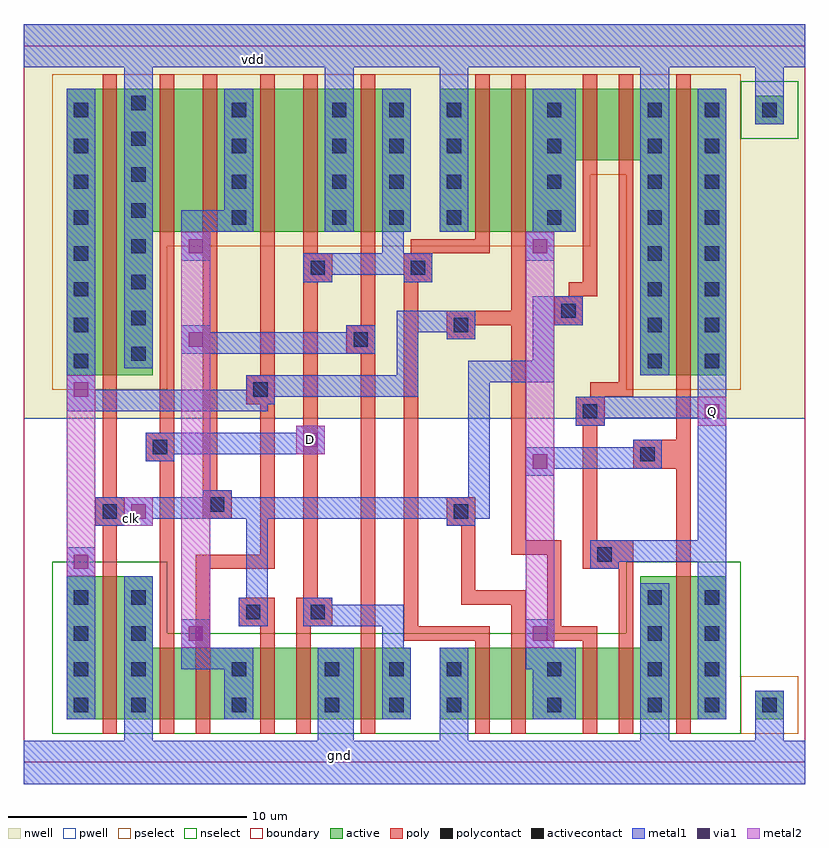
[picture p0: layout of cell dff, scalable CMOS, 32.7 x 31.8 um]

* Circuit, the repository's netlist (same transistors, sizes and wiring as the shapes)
*********************** "dff" ******************************
* Positive edge-triggered FF
.SUBCKT dff D Q clk vdd gnd
M0 vdd clk a_2_6# vdd p w=12u l=0.6u
M1 a_17_74# D vdd vdd p w=6u l=0.6u
M2 a_22_6# clk a_17_74# vdd p w=6u l=0.6u
M3 a_31_74# a_2_6# a_22_6# vdd p w=6u l=0.6u
M4 vdd a_34_4# a_31_74# vdd p w=6u l=0.6u
M5 a_34_4# a_22_6# vdd vdd p w=6u l=0.6u
M6 a_61_74# a_34_4# vdd vdd p w=6u l=0.6u
M7 a_66_6# a_2_6# a_61_74# vdd p w=6u l=0.6u
M8 a_76_84# clk a_66_6# vdd p w=3u l=0.6u
M9 vdd Q a_76_84# vdd p w=3u l=0.6u
M10 gnd clk a_2_6# gnd n w=6u l=0.6u
M11 Q a_66_6# vdd vdd p w=12u l=0.6u
M12 a_17_6# D gnd gnd n w=3u l=0.6u
M13 a_22_6# a_2_6# a_17_6# gnd n w=3u l=0.6u
M14 a_31_6# clk a_22_6# gnd n w=3u l=0.6u
M15 gnd a_34_4# a_31_6# gnd n w=3u l=0.6u
M16 a_34_4# a_22_6# gnd gnd n w=3u l=0.6u
M17 a_61_6# a_34_4# gnd gnd n w=3u l=0.6u
M18 a_66_6# clk a_61_6# gnd n w=3u l=0.6u
M19 a_76_6# a_2_6# a_66_6# gnd n w=3u l=0.6u
M20 gnd Q a_76_6# gnd n w=3u l=0.6u
M21 Q a_66_6# gnd gnd n w=6u l=0.6u

.ENDS dff

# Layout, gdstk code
import gdstk
lib = gdstk.Library(unit=1e-6, precision=1e-09)
def R(c, l, rs):  # rectangles x0, y0, x1, y1
    for r in rs: c.add(gdstk.rectangle(r[:2], r[2:], *l))
def A(c, l, x, y, w, h, nx, ny, dx, dy):  # array of equal rectangles
    R(c, l, [(x+i*dx, y+j*dy, x+i*dx+w, y+j*dy+h) for i in range(nx) for j in range(ny)])
pwell = (41, 0)
nwell = (42, 0)
active = (43, 0)
pselect = (44, 0)
nselect = (45, 0)
poly = (46, 0)
polycontact = (47, 0)
activecontact = (48, 0)
metal1 = (49, 0)
via1 = (50, 0)
metal2 = (51, 0)
boundary = (63, 0)

dff = lib.new_cell('dff')
R(dff, pwell, [(0,-0.9,32.7,14.4)])
R(dff, nwell, [(0,14.4,32.7,30.9)])
R(dff, active, [(1.8,1.8,16.2,4.8), (17.4,1.8,29.4,4.8), (30.6,1.8,31.8,3), (1.8,4.8,5.4,7.8), (25.8,4.8,29.4,7.8), (1.8,16.2,5.4,22.2), (25.8,16.2,29.4,25.2), (1.8,22.2,16.2,28.2), (17.4,22.2,23.1,25.2), (17.4,25.2,29.4,28.2), (30.6,26.7,31.8,27.9)])
R(dff, pselect, [(30,1.2,32.4,3.6), (1.2,15.6,6,21.6), (25.2,15.6,30,24.6), (1.2,21.6,23.7,24.6), (1.2,24.6,30,28.8)])
R(dff, nselect, [(1.2,1.2,30,5.4), (1.2,5.4,6,8.4), (25.2,5.4,30,8.4), (30,26.1,32.4,28.5)])
R(dff, poly, [(3.3,1.2,3.9,9.9), (5.7,1.2,6.3,12.6), (7.2,1.2,7.8,8.1), (9.9,1.2,10.5,5.7), (11.4,1.2,12,5.7), (14.1,1.2,14.7,17.1), (18.9,1.2,19.5,5.1), (20.4,1.2,21,6.6), (23.4,1.2,24,5.1), (24.9,1.2,25.5,8.1), (27.3,1.2,27.9,12.3), (15.9,5.1,19.5,5.7), (21.9,5.1,24,5.7), (9,5.7,10.5,6.9), (11.4,5.7,12.9,6.9), (15.9,5.7,16.5,20.1), (21.9,5.7,22.5,8.7), (18.3,6.6,21,7.2), (11.7,6.9,12.3,20.1), (18.3,7.2,18.9,9.9), (7.2,8.1,10.5,8.7), (23.4,8.1,25.5,9.3), (9.9,8.7,10.5,15), (20.4,8.7,22.5,9.3), (20.4,9.3,21,18.3), (23.4,9.3,24,14.1), (3,9.9,4.2,11.1), (17.7,9.9,18.9,11.1), (7.5,10.2,8.7,11.4), (3.3,11.1,3.9,28.8), (7.5,11.4,8.1,28.8), (25.5,12.3,27.9,13.5), (5.1,12.6,6.3,13.8), (27.3,13.5,27.9,28.8), (5.7,13.8,6.3,28.8), (23.1,14.1,24.3,15.3), (9.3,15,10.5,16.2), (23.7,15.3,25.5,15.9), (24.9,15.9,25.5,28.8), (9.9,16.2,10.5,28.8), (13.5,17.1,14.7,18.3), (17.7,17.7,18.9,18.3), (14.1,18.3,14.7,28.8), (17.7,18.3,21,18.9), (22.2,18.3,23.4,19.5), (20.4,18.9,21,28.8), (22.8,19.5,24,20.1), (11.7,20.1,12.9,21.3), (15.9,20.1,17.1,21.3), (23.4,20.1,24,28.8), (11.7,21.3,12.3,28.8), (16.2,21.3,19.5,21.9), (18.9,21.9,19.5,28.8)])
R(dff, polycontact, [(9.3,6,9.9,6.6), (12,6,12.6,6.6), (24,8.4,24.6,9), (3.3,10.2,3.9,10.8), (18,10.2,18.6,10.8), (7.8,10.5,8.4,11.1), (25.8,12.6,26.4,13.2), (5.4,12.9,6,13.5), (23.4,14.4,24,15), (9.6,15.3,10.2,15.9), (13.8,17.4,14.4,18), (18,18,18.6,18.6), (22.5,18.6,23.1,19.2), (12,20.4,12.6,21), (16.2,20.4,16.8,21)])
A(dff, activecontact, 2.1, 2.1, 0.6, 0.6, 1, 4, 0, 1.5)
A(dff, activecontact, 4.5, 2.1, 0.6, 0.6, 1, 4, 0, 1.5)
A(dff, activecontact, 17.7, 2.1, 0.6, 0.6, 3, 2, 4.2, 1.5)
A(dff, activecontact, 28.5, 2.1, 0.6, 0.6, 1, 4, 0, 1.5)
A(dff, activecontact, 2.1, 16.5, 0.6, 0.6, 1, 8, 0, 1.5)
A(dff, activecontact, 26.1, 16.5, 0.6, 0.6, 1, 7, 0, 1.5)
A(dff, activecontact, 28.5, 16.5, 0.6, 0.6, 1, 7, 0, 1.5)
A(dff, activecontact, 4.5, 16.8, 0.6, 0.6, 1, 8, 0, 1.5)
A(dff, activecontact, 8.7, 22.5, 0.6, 0.6, 1, 4, 0, 1.5)
A(dff, activecontact, 12.9, 22.5, 0.6, 0.6, 3, 4, 2.4, 1.5)
A(dff, activecontact, 21.9, 22.5, 0.6, 0.6, 1, 4, 0, 1.5)
A(dff, activecontact, 26.1, 27, 0.6, 0.6, 3, 1, 2.4, 0)
R(dff, activecontact, [(8.7,2.1,9.3,2.7), (12.6,2.1,13.2,2.7), (15.3,2.1,15.9,2.7), (30.9,2.1,31.5,2.7), (8.7,3.6,9.3,4.2), (12.6,3.6,13.2,4.2), (15.3,3.6,15.9,4.2), (26.1,5.1,26.7,5.7), (26.1,6.6,26.7,7.2)])
R(dff, metal1, [(0,-0.9,32.7,0.9), (4.2,0.9,5.4,7.8), (12.3,0.9,13.8,4.8), (17.4,0.9,18.6,4.8), (25.8,0.9,27,7.5), (30.6,0.9,31.8,3), (1.8,1.8,3,9), (8.4,1.8,9.6,3.9), (15,1.8,16.2,4.8), (21.3,1.8,23.1,3.9), (28.2,1.8,29.4,8.4), (6.6,3.9,9.6,4.8), (21,3.9,23.1,4.8), (6.6,4.8,7.8,6), (15,4.8,15.9,5.7), (21,4.8,22.2,6), (9,5.7,10.2,6.9), (11.7,5.7,15.9,6.6), (11.7,6.6,12.9,6.9), (9.3,6.9,10.2,10.2), (23.7,8.1,24.9,8.4), (23.7,8.4,29.4,9.3), (28.2,9.3,29.4,14.4), (3,9.9,5.4,10.2), (17.7,9.9,18.9,10.2), (3,10.2,19.5,11.1), (7.5,11.1,8.7,11.4), (18.6,11.1,19.5,15.9), (21,12,22.2,12.3), (21,12.3,26.7,13.2), (5.1,12.6,6.3,12.9), (5.1,12.9,12.6,13.8), (25.5,13.2,26.7,13.5), (11.4,13.8,12.6,14.1), (23.1,14.1,24.3,14.4), (23.1,14.4,29.4,15.3), (1.8,14.7,10.2,15), (1.8,15,10.5,15.3), (1.8,15.3,16.5,15.6), (28.2,15.3,29.4,28.2), (1.8,15.6,3,28.2), (9.3,15.6,16.5,16.2), (18.6,15.9,22.2,16.8), (15.6,16.2,16.5,18), (25.8,16.2,27,29.1), (4.2,16.5,5.4,29.1), (21.3,16.8,22.2,18.3), (6.6,17.1,14.7,18), (17.7,17.7,18.9,18), (6.6,18,7.8,18.3), (13.5,18,14.7,18.3), (15.6,18,18.9,18.9), (21.3,18.3,23.4,19.5), (11.7,20.1,12.9,20.4), (15.9,20.1,17.1,20.4), (11.7,20.4,17.1,21.3), (6.6,21,7.8,22.2), (21,21,22.2,22.2), (15,21.3,15.9,22.2), (6.6,22.2,9.6,23.1), (12.6,22.2,13.8,29.1), (15,22.2,16.2,28.2), (17.4,22.2,18.6,29.1), (21.3,22.2,23.1,28.2), (8.4,23.1,9.6,28.2), (30.6,26.7,31.8,29.1), (0,29.1,32.7,30.9)])
R(dff, via1, [(6.9,5.1,7.5,5.7), (21.3,5.1,21.9,5.7), (2.1,8.1,2.7,8.7), (4.5,10.2,5.1,10.8), (21.3,12.3,21.9,12.9), (11.7,13.2,12.3,13.8), (28.5,14.4,29.1,15), (2.1,15.3,2.7,15.9), (6.9,17.4,7.5,18), (6.9,21.3,7.5,21.9), (21.3,21.3,21.9,21.9)])
R(dff, metal2, [(6.6,4.8,7.8,22.2), (21,4.8,22.2,22.2), (1.8,7.8,3,16.2), (4.2,9.9,5.4,11.1), (11.4,12.9,12.6,14.1), (28.2,14.1,29.4,15.3)])
R(dff, boundary, [(0,0,32.7,30)])
dff.add(gdstk.Label('clk', (4.5,10.2), layer=51, texttype=0))
dff.add(gdstk.Label('D', (12,13.5), layer=51, texttype=0))
dff.add(gdstk.Label('Q', (28.8,14.7), layer=51, texttype=0))
dff.add(gdstk.Label('vdd', (9.6,29.4), layer=49, texttype=0))
dff.add(gdstk.Label('gnd', (13.2,0.3), layer=49, texttype=0))

lib.write_gds('dff.gds')
